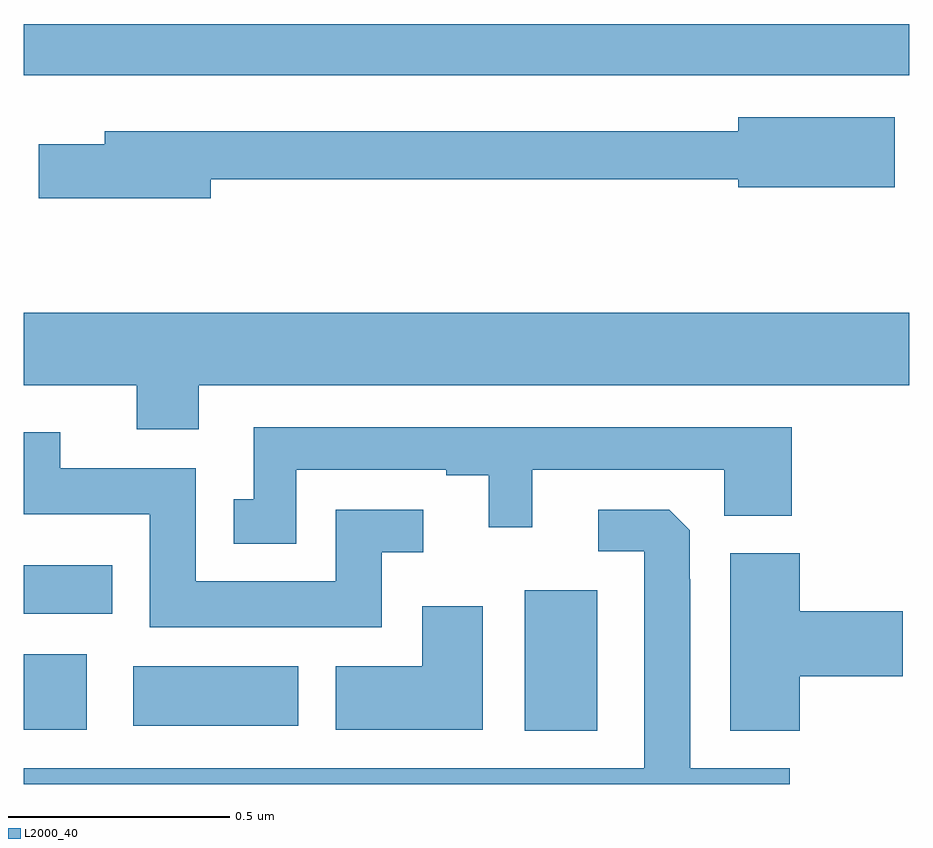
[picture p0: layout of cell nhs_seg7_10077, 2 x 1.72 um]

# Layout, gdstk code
import gdstk
lib = gdstk.Library(unit=1e-6, precision=1e-09)
def R(c, l, rs):  # rectangles x0, y0, x1, y1
    for r in rs: c.add(gdstk.rectangle(r[:2], r[2:], *l))
def P(c, l, *ps):  # polygons
    for p in ps: c.add(gdstk.Polygon(p, *l))
L2000_40 = (2000, 40)

nhs_seg7_10077 = lib.new_cell('nhs_seg7_10077')
R(nhs_seg7_10077, L2000_40, [(246.131,1049.12,246.295,1049.437), (245,1049.123,245.143,1049.293), (245.247,1049.132,245.62,1049.266), (245,1049.384,245.2,1049.494), (245,1050.6,247,1050.716)])
P(nhs_seg7_10077, L2000_40, [(245.422,1050.366),(246.614,1050.366),(246.614,1050.347),(246.967,1050.347),(246.967,1050.505),(246.614,1050.505),(246.614,1050.474),(245.183,1050.474),(245.183,1050.445),(245.034,1050.445),(245.034,1050.323),(245.422,1050.323)],
  [(245.395,1049.9),(247,1049.9),(247,1050.064),(245,1050.064),(245,1049.9),(245.255,1049.9),(245.255,1049.801),(245.395,1049.801)],
  [(245.616,1049.709),(245.954,1049.709),(245.954,1049.697),(246.05,1049.697),(246.05,1049.58),(246.148,1049.58),(246.148,1049.709),(246.582,1049.709),(246.582,1049.606),(246.734,1049.606),(246.734,1049.805),(245.52,1049.805),(245.52,1049.643),(245.474,1049.643),(245.474,1049.543),(245.616,1049.543)],
  [(245.809,1049.523),(245.902,1049.523),(245.902,1049.619),(245.705,1049.619),(245.705,1049.458),(245.389,1049.458),(245.389,1049.713),(245.083,1049.713),(245.083,1049.794),(245,1049.794),(245,1049.609),(245.285,1049.609),(245.285,1049.354),(245.809,1049.354)],
  [(246.73,1049.035),(246.505,1049.035),(246.505,1049.462),(246.504,1049.462),(246.504,1049.573),(246.458,1049.619),(246.297,1049.619),(246.297,1049.526),(246.401,1049.526),(246.401,1049.035),(245,1049.035),(245,1049),(246.73,1049)],
  [(246.752,1049.243),(246.985,1049.243),(246.985,1049.39),(246.752,1049.39),(246.752,1049.521),(246.596,1049.521),(246.596,1049.12),(246.752,1049.12)],
  [(246.037,1049.401),(245.9,1049.401),(245.9,1049.266),(245.705,1049.266),(245.705,1049.123),(246.037,1049.123)])

lib.write_gds('nhs_seg7_10077.gds')
